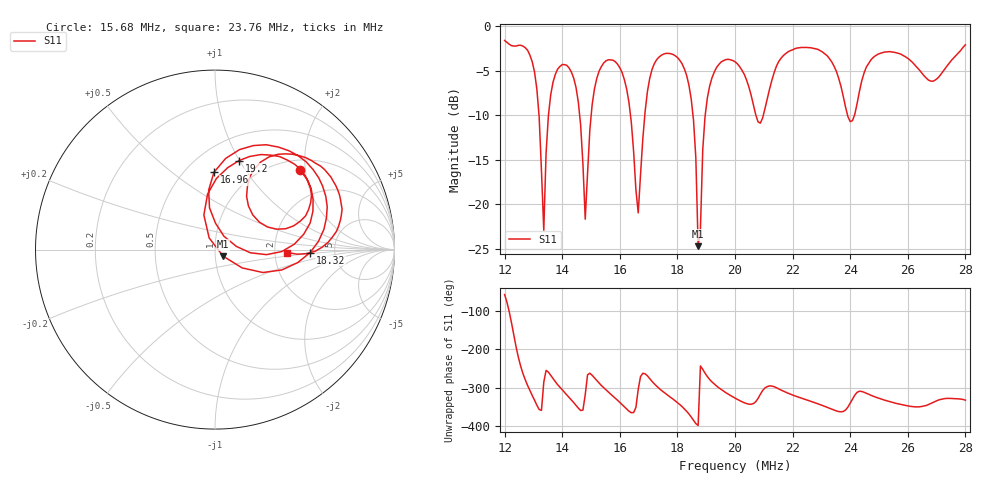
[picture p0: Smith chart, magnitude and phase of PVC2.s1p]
!Keysight Technologies N9916A: A.13.10
!Date: Monday, 17 November 2025 20:26:29
!TimeZone: (UTC-06:00) Central Time (US & Canada)!Model: N9916A
!Serial: MY57273160
!GPS Latitude:
!GPS Longitude:
!GPS TimeStamp: 0001-01-01 00:00:00Z
!GPS Seconds Since Last Read: 0
!CHECKSUM:0165773271
!Correction: S11(ON U)
!S1P File: Measurement: S11:
# Hz S DB R 50
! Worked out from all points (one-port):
!   201 points, 12 MHz to 28 MHz, reference 50 ohm
!   lowest |S11| = -24.7 dB at 18.72 MHz (marker M1), VSWR 1.12, Z = 54.6 - j4 ohm
!   |S11| at or under -10 dB: 13.2 MHz to 13.52 MHz (326.7 kHz wide, 2.45 % of centre); 16.37 MHz to 16.87 MHz (497.2 kHz wide, 2.99 % of centre); 18.54 MHz to 18.96 MHz (423.9 kHz wide, 2.26 % of centre)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
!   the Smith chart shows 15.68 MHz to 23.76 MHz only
!   S11 on the Smith chart (normalised r, x): 15.68 MHz: 1.22, +1.87; 16.96 MHz: 0.68, +0.72; 18.32 MHz: 3.25, -0.15; 19.2 MHz: 0.74, +1.00; 23.76 MHz: 2.35, -0.09
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1.2e7  -1.58 -56.7
1.216e7  -2.00 -101.2
1.24e7  -2.21 166.0
1.264e7  -2.22 96.0
1.296e7  -3.98 39.3
1.336e7  -22.92 74.2
1.36e7  -7.71 92.2
1.4e7  -4.29 54.4
1.456e7  -8.53 6.4
1.48e7  -21.68 41.8
1.512e7  -7.03 85.4
1.568e7  -3.76 43.2
1.6e7  -4.65 21.3
1.664e7  -20.97 56.0
1.696e7  -7.31 90.7
1.8e7  -3.49 20.9
1.832e7  -5.51 -1.8
1.856e7  -10.57 -25.5
1.872e7  -24.71 -38.9
1.92e7  -5.79 74.9
2e7  -3.97 32.7
2.088e7  -10.88 42.6
2.2e7  -2.63 40.7
2.376e7  -7.88 -2.4
2.4e7  -10.71 19.4
2.456e7  -4.58 45.2
2.6e7  -3.60 12.3
2.8e7  -2.07 27.2
